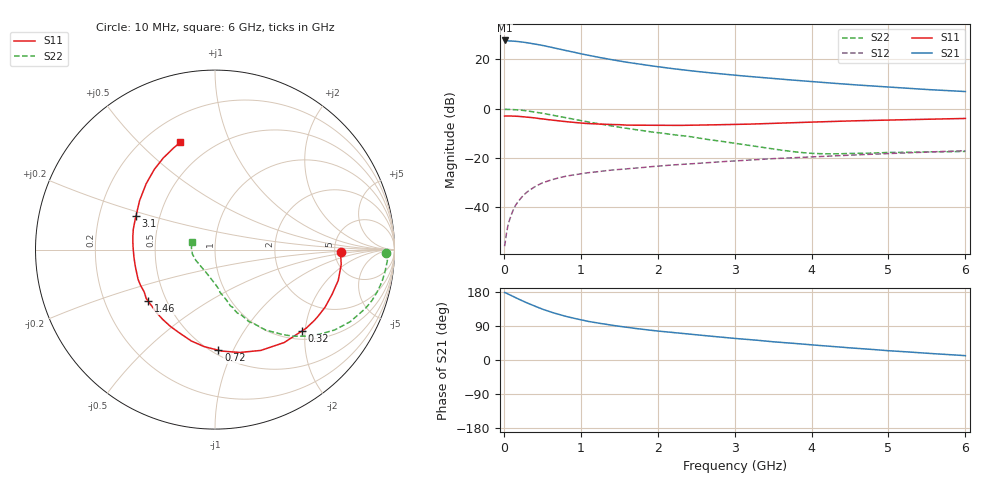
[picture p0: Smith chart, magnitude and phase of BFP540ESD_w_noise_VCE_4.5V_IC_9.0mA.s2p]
! Infineon Technologies  Discrete & RF Semiconductors
! BFP540ESD
! VCE =  4.5 V,  IC =  9.0 mA
! Common Emitter S-Parameters:  Nov 2015
# GHz  S  MA  R  50
!  f  S11  S21  S12  S22
! GHz  MAG  ANG  MAG  ANG  MAG  ANG  MAG  ANG
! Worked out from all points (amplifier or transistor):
!   210 points, 10 MHz to 6 GHz, reference 50 ohm
!   highest |S21| = 27.7 dB at 10 MHz (marker M1)
!   |S21| within 3 dB of that: start of sweep to 648.5 MHz
!   unconditionally stable (mu >= 1): start of sweep to 16.68 MHz; 2.839 GHz to end of sweep
!   at 185 MHz: K = 0.21, MSG = 32.5 dB, |S12| = -37.9 dB
!   at 1.52 GHz: K = 0.69, MSG = 22.0 dB, |S12| = -24.7 dB
!   at 6 GHz: K = 1.16, MAG = 9.6 dB, |S12| = -17.1 dB
!   lowest NFmin = 0.83 dB at 900 MHz
!   S11 on the Smith chart (normalised r, x): 10 MHz: 5.72, -0.28; 320 MHz: 1.18, -1.92; 720 MHz: 0.54, -0.88; 1.46 GHz: 0.40, -0.29; 3.1 GHz: 0.37, +0.18; 6 GHz: 0.34, +0.67
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0.01  0.7028 -1.0  24.13 178.1  0.0016 19.4  0.9517 -1.3
0.02  0.7018 -3.0  23.78 177.6  0.002 45.8  0.9618 -1.3
0.1  0.7078 -14.0  23.53 169.6  0.0071 73.6  0.9555 -7.4
0.15  0.6983 -20.9  23.25 164.8  0.0107 73.2  0.9468 -11.1
0.22  0.6873 -30.2  22.59 158.1  0.015 72.2  0.9264 -16.2
0.32  0.6632 -43.2  21.48 149.1  0.0211 68.5  0.8877 -22.9
0.4  0.6456 -53.3  20.48 142.1  0.0256 65.5  0.8534 -28.1
0.5  0.6172 -65.5  19.21 134.2  0.0308 62.0  0.802 -34.0
0.6  0.5897 -76.4  17.73 127.1  0.0348 59.3  0.7495 -39.0
0.72  0.5608 -88.1  16.17 120.1  0.0393 55.9  0.6903 -44.3
0.8  0.544 -96.3  15.16 115.4  0.042 54.2  0.652 -47.8
0.9  0.5261 -104.5  14.01 110.4  0.0448 51.7  0.6084 -51.2
1.02  0.5038 -113.7  12.77 105.3  0.0478 49.9  0.5606 -54.9
1.2  0.486 -126.8  11.21 98.3  0.0516 47.1  0.4999 -59.8
1.46  0.4703 -142.2  9.478 90.1  0.0572 45.0  0.4273 -65.7
1.7  0.4603 -154.5  8.249 83.5  0.0616 44.1  0.3744 -70.6
2.02  0.4537 -168.0  7.011 76.0  0.068 42.1  0.3214 -75.0
2.58  0.4622 172.2  5.511 64.8  0.0782 39.8  0.2435 -82.7
3.1  0.4781 157.1  4.607 55.4  0.088 37.3  0.1871 -90.8
4.1  0.5355 134.4  3.43 38.4  0.1058 31.3  0.1212 -131.9
5.1  0.5897 118.2  2.671 23.3  0.1234 24.8  0.1283 -172.2
6  0.6282 107.9  2.213 11.4  0.1391 19.6  0.1347 161.4
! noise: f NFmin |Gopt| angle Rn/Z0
0.9  0.83  0.08  -128  0.11
1.8  1.03  0.14  -161  0.1
2.4  1.04  0.14  -156  0.1
3  1.16  0.21  -156  0.1
4  1.29  0.34  -115  0.15
5  1.48  0.45  -92  0.27
6  1.72  0.53  -95  0.5
